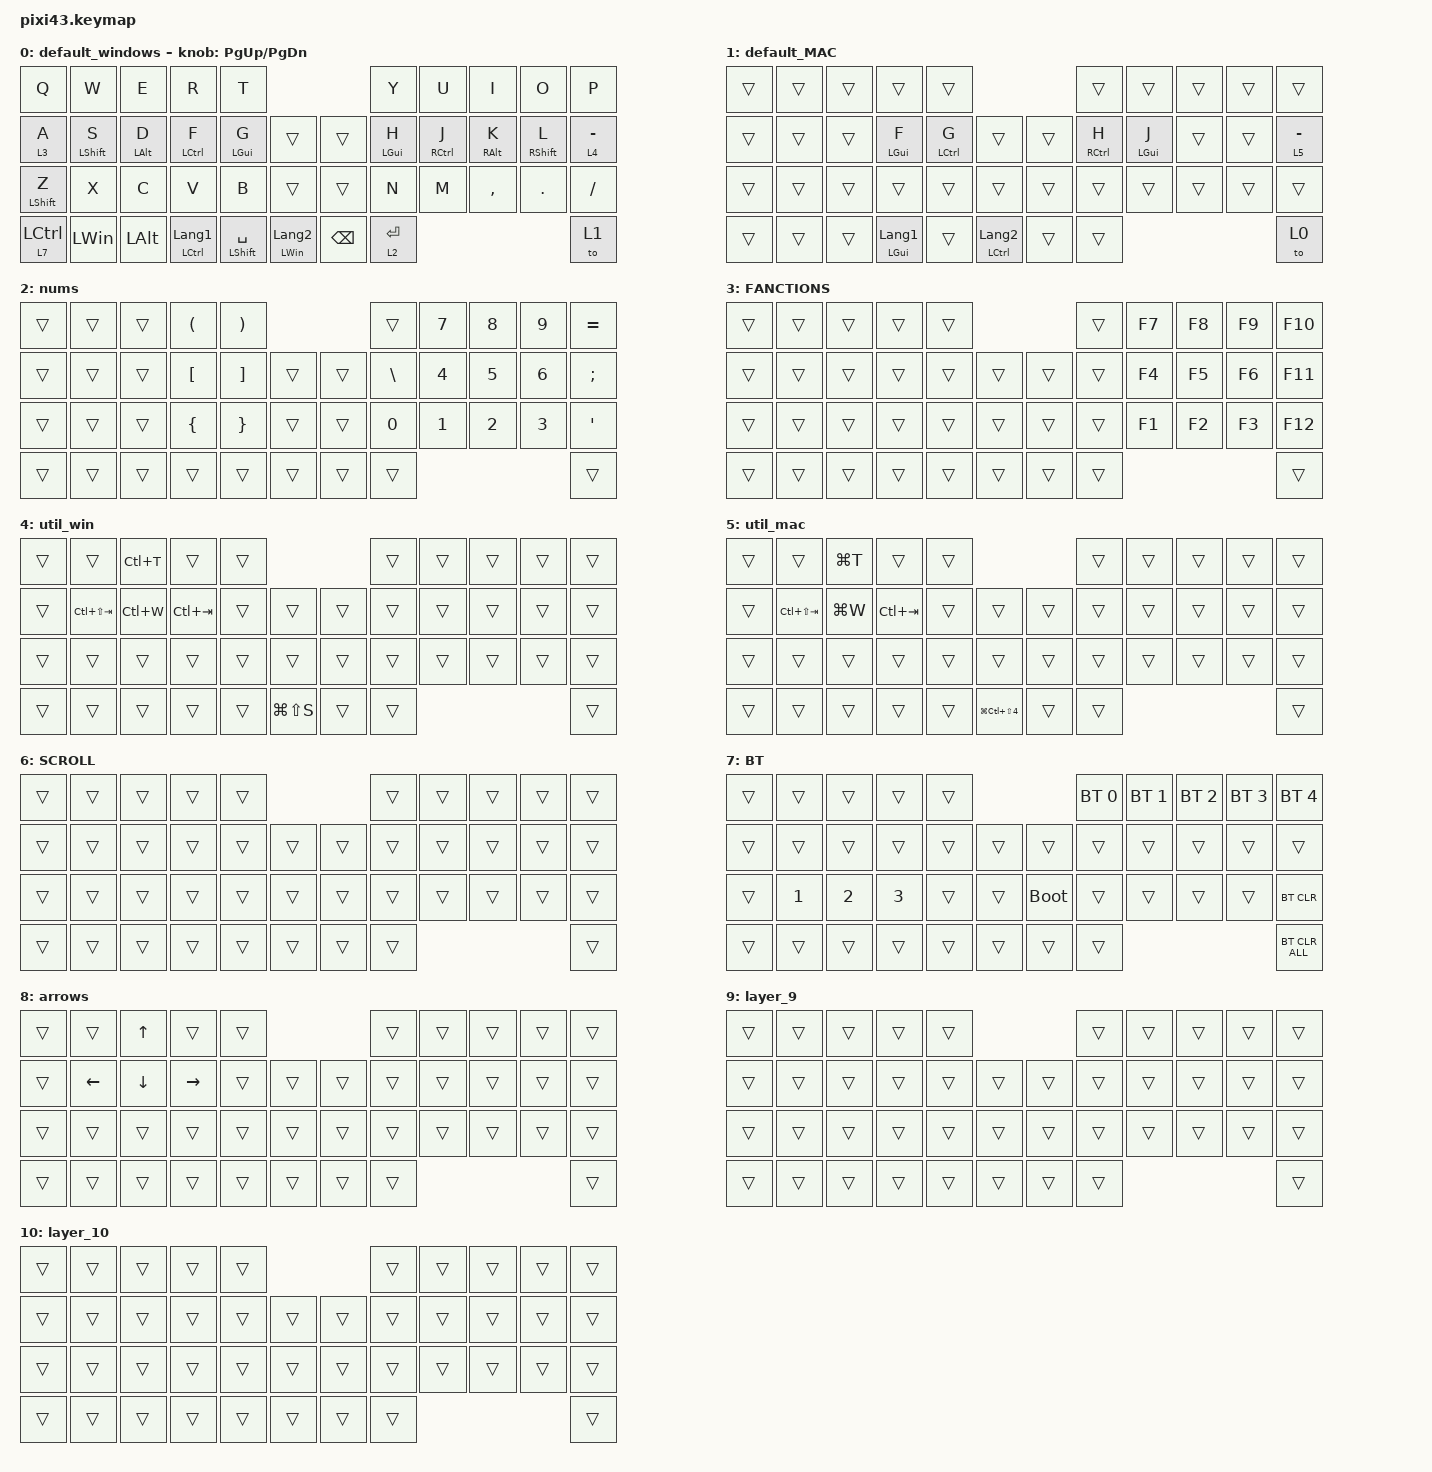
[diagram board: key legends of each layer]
#include <behaviors.dtsi>
#include <dt-bindings/zmk/bt.h>
#include <dt-bindings/zmk/keys.h>
#include <dt-bindings/zmk/pointing.h>

&mt {
    flavor = "balanced";
    quick-tap-ms = <0>;
};

&trackball {
    // automouse-layer = <4>;

    scroll-layers = <6>;

    // arrows {
    //     layers = <3>;
    //     bindings =
    //         <&kp RIGHT_ARROW>,
    //         <&kp LEFT_ARROW>,
    //         <&kp UP_ARROW>,
    //         <&kp DOWN_ARROW>;
    //     tick = <10>;
    //     wait-ms = <5>;
    //     tap-ms = <5>;
    // };
};

/ {
    combos {
        compatible = "zmk,combos";

        tab {
            bindings = <&kp TAB>;
            key-positions = <11 10>;
            timeout-ms = <15>;
        };

        scroll {
            bindings = <&mo 6>;
            key-positions = <18 19 20>;
        };

        left_click {
            bindings = <&mkp MB1>;
            key-positions = <18 19>;
        };

        right_click {
            bindings = <&mkp MB2>;
            key-positions = <19 20>;
        };

        left_arrow {
            bindings = <&kp LEFT_ARROW>;
            key-positions = <11 12>;
        };

        up_arrow {
            bindings = <&kp UP_ARROW>;
            key-positions = <12 2>;
        };

        right_arrow {
            bindings = <&kp RIGHT_ARROW>;
            key-positions = <12 13>;
        };

        down_arrow {
            bindings = <&kp DOWN_ARROW>;
            key-positions = <12 24>;
        };

        middle_click {
            bindings = <&mkp MB3>;
            key-positions = <18 20>;
        };

        home {
            bindings = <&kp HOME>;
            key-positions = <10 12>;
            timeout-ms = <15>;
        };

        end {
            bindings = <&kp END>;
            key-positions = <12 14>;
        };

        pageup {
            bindings = <&kp PAGE_UP>;
            key-positions = <1 3>;
        };

        pagedown {
            bindings = <&kp PAGE_DOWN>;
            key-positions = <11 13>;
        };

        esc {
            bindings = <&kp ESCAPE>;
            key-positions = <0 1>;
        };

        arrows {
            bindings = <&mo 8>;
            key-positions = <20 21>;
        };
    };

    macros {
        to_layer_0: to_layer_0 {
            compatible = "zmk,behavior-macro-one-param";
            #binding-cells = <1>;
            bindings = <&to 0 &macro_param_1to1 &kp MACRO_PLACEHOLDER>;
            label = "TO_LAYER_0";
        };
    };

    behaviors {
        lt_to_layer_0: lt_to_layer_0 {
            compatible = "zmk,behavior-hold-tap";
            label = "LAYER_TAP_TO_0";
            bindings = <&mo>, <&to_layer_0>;

            #binding-cells = <2>;
            tapping-term-ms = <200>;
        };

        HRM_right: HRM_right {
            compatible = "zmk,behavior-hold-tap";
            label = "HRM_RIGHT";
            bindings = <&kp>, <&kp>;

            #binding-cells = <2>;
            tapping-term-ms = <200>;
            flavor = "balanced";
            hold-trigger-on-release;
            require-prior-idle-ms = <150>;
            hold-trigger-key-positions = <39 38 37 36 35 34 22 23 24 25 26 27 15 14 0 1 3 10 11 12 13 2 4>;
        };

        mt_bl_400: mt_bl_400 {
            compatible = "zmk,behavior-hold-tap";
            label = "MT_BL_400";
            #binding-cells = <2>;
            tapping-term-ms = <400>;
            flavor = "balanced";
            bindings = <&kp>, <&kp>;
        };

        HRM_left: HRM_left {
            compatible = "zmk,behavior-hold-tap";
            label = "HRM_LEFT";
            bindings = <&kp>, <&kp>;

            #binding-cells = <2>;
            tapping-term-ms = <200>;
            flavor = "balanced";
            hold-trigger-on-release;
            require-prior-idle-ms = <150>;
            hold-trigger-key-positions = <5 6 7 8 9 16 17 18 19 20 21 28 29 30 31 32 33 40 41 42>;
        };
    };

    keymap {
        compatible = "zmk,keymap";

        default_windows {
            bindings = <
&kp Q             &kp W                    &kp E                 &kp R                 &kp T                                                             &kp Y                  &kp U               &kp I                   &kp O                     &kp P
&lt 3 A           &mt_bl_400 LEFT_SHIFT S  &HRM_left LEFT_ALT D  &HRM_left LCTRL F     &HRM_left LEFT_GUI G  &trans                       &trans         &HRM_right LEFT_GUI H  &HRM_right RCTRL J  &HRM_right RIGHT_ALT K  &HRM_right RIGHT_SHIFT L  &lt 4 MINUS
&mt LEFT_SHIFT Z  &kp X                    &kp C                 &kp V                 &kp B                 &trans                       &trans         &kp N                  &kp M               &kp COMMA               &kp DOT                   &kp SLASH
&lt 7 LCTRL       &kp LEFT_WIN             &kp LEFT_ALT          &mt LCTRL LANGUAGE_1  &mt LEFT_SHIFT SPACE  &mt LEFT_WIN LANGUAGE_2      &kp BACKSPACE  &lt 2 ENTER                                                                                  &to 1
            >;

            sensor-bindings = <&inc_dec_kp PG_UP PAGE_DOWN>;
        };

        default_MAC {
            bindings = <
&trans  &trans  &trans  &trans                   &trans                                         &trans       &trans          &trans  &trans  &trans
&trans  &trans  &trans  &mt LEFT_GUI F           &mt LCTRL G  &trans                    &trans  &mt RCTRL H  &mt LEFT_GUI J  &trans  &trans  &lt 5 MINUS
&trans  &trans  &trans  &trans                   &trans       &trans                    &trans  &trans       &trans          &trans  &trans  &trans
&trans  &trans  &trans  &mt LEFT_GUI LANGUAGE_1  &trans       &mt LCTRL LANGUAGE_2      &trans  &trans                                       &to 0
            >;
        };

        nums {
            bindings = <
&trans  &trans  &trans  &kp LEFT_PARENTHESIS  &kp RIGHT_PARENTHESIS                      &trans         &kp N7        &kp N8        &kp N9        &kp EQUAL
&trans  &trans  &trans  &kp LEFT_BRACKET      &kp RIGHT_BRACKET      &trans      &trans  &kp BACKSLASH  &kp NUMBER_4  &kp N5        &kp NUMBER_6  &kp SEMICOLON
&trans  &trans  &trans  &kp LEFT_BRACE        &kp RIGHT_BRACE        &trans      &trans  &kp N0         &kp NUMBER_1  &kp NUMBER_2  &kp NUMBER_3  &kp SQT
&trans  &trans  &trans  &trans                &trans                 &trans      &trans  &trans                                                   &trans
            >;
        };

        FANCTIONS {
            bindings = <
&trans  &trans  &trans  &trans  &trans                      &trans  &kp F7  &kp F8  &kp F9  &kp F10
&trans  &trans  &trans  &trans  &trans  &trans      &trans  &trans  &kp F4  &kp F5  &kp F6  &kp F11
&trans  &trans  &trans  &trans  &trans  &trans      &trans  &trans  &kp F1  &kp F2  &kp F3  &kp F12
&trans  &trans  &trans  &trans  &trans  &trans      &trans  &trans                          &trans
            >;
        };

        util_win {
            bindings = <
&trans  &trans           &kp LC(T)  &trans       &trans                             &trans  &trans  &trans  &trans  &trans
&trans  &kp LC(LS(TAB))  &kp LC(W)  &kp LC(TAB)  &trans  &trans             &trans  &trans  &trans  &trans  &trans  &trans
&trans  &trans           &trans     &trans       &trans  &trans             &trans  &trans  &trans  &trans  &trans  &trans
&trans  &trans           &trans     &trans       &trans  &kp LG(LS(S))      &trans  &trans                          &trans
            >;
        };

        util_mac {
            bindings = <
&trans  &trans           &kp LG(T)  &trans       &trans                                        &trans  &trans  &trans  &trans  &trans
&trans  &kp LC(LS(TAB))  &kp LG(W)  &kp LC(TAB)  &trans  &trans                        &trans  &trans  &trans  &trans  &trans  &trans
&trans  &trans           &trans     &trans       &trans  &trans                        &trans  &trans  &trans  &trans  &trans  &trans
&trans  &trans           &trans     &trans       &trans  &kp LG(LC(LS(NUMBER_4)))      &trans  &trans                          &trans
            >;
        };

        SCROLL {
            bindings = <
&trans  &trans  &trans  &trans  &trans                      &trans  &trans  &trans  &trans  &trans
&trans  &trans  &trans  &trans  &trans  &trans      &trans  &trans  &trans  &trans  &trans  &trans
&trans  &trans  &trans  &trans  &trans  &trans      &trans  &trans  &trans  &trans  &trans  &trans
&trans  &trans  &trans  &trans  &trans  &trans      &trans  &trans                          &trans
            >;
        };

        BT {
            bindings = <
&trans  &trans        &trans        &trans        &trans                           &bt BT_SEL 0  &bt BT_SEL 1  &bt BT_SEL 2  &bt BT_SEL 3  &bt BT_SEL 4
&trans  &trans        &trans        &trans        &trans  &trans      &trans       &trans        &trans        &trans        &trans        &trans
&trans  &kp NUMBER_1  &kp NUMBER_2  &kp NUMBER_3  &trans  &trans      &bootloader  &trans        &trans        &trans        &trans        &bt BT_CLR
&trans  &trans        &trans        &trans        &trans  &trans      &trans       &trans                                                  &bt BT_CLR_ALL
            >;
        };

        arrows {
            bindings = <
&trans  &trans          &kp UP_ARROW    &trans           &trans                      &trans  &trans  &trans  &trans  &trans
&trans  &kp LEFT_ARROW  &kp DOWN_ARROW  &kp RIGHT_ARROW  &trans  &trans      &trans  &trans  &trans  &trans  &trans  &trans
&trans  &trans          &trans          &trans           &trans  &trans      &trans  &trans  &trans  &trans  &trans  &trans
&trans  &trans          &trans          &trans           &trans  &trans      &trans  &trans                          &trans
            >;
        };

        layer_9 {
            bindings = <
&trans  &trans  &trans  &trans  &trans                      &trans  &trans  &trans  &trans  &trans
&trans  &trans  &trans  &trans  &trans  &trans      &trans  &trans  &trans  &trans  &trans  &trans
&trans  &trans  &trans  &trans  &trans  &trans      &trans  &trans  &trans  &trans  &trans  &trans
&trans  &trans  &trans  &trans  &trans  &trans      &trans  &trans                          &trans
            >;
        };

        layer_10 {
            bindings = <
&trans  &trans  &trans  &trans  &trans                      &trans  &trans  &trans  &trans  &trans
&trans  &trans  &trans  &trans  &trans  &trans      &trans  &trans  &trans  &trans  &trans  &trans
&trans  &trans  &trans  &trans  &trans  &trans      &trans  &trans  &trans  &trans  &trans  &trans
&trans  &trans  &trans  &trans  &trans  &trans      &trans  &trans                          &trans
            >;
        };
    };
};
